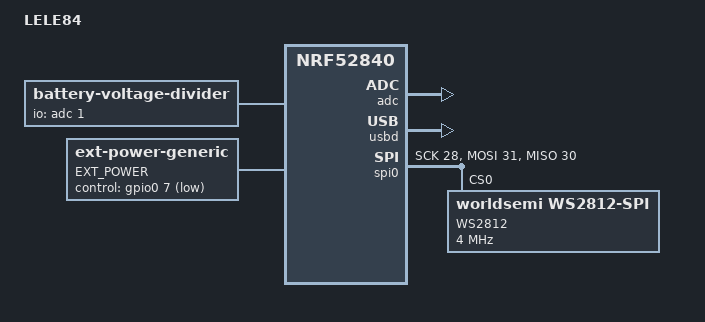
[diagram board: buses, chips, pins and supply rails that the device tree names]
/*
 * Copyright (c) 2020 Stefan Sundin (4pplet)
 *
 * SPDX-License-Identifier: MIT
 */

/dts-v1/;
#include <nordic/nrf52840_qiaa.dtsi>
#include <dt-bindings/zmk/matrix_transform.h>
/ {
	model = "LELE84";
	compatible = "Lele84";

	chosen {
		zephyr,code-partition = &code_partition;
		zephyr,sram = &sram0;
		zephyr,flash = &flash0;
		zmk,underglow = &led_strip;
	};

	vbatt {
		compatible = "zmk,battery-voltage-divider";
		label = "BATTERY";
		io-channels = <&adc 1>;
		output-ohms = <1000000>;
		full-ohms = <(1000000 + 1000000)>;
	};

	

	ext-power {
		compatible = "zmk,ext-power-generic";
		label = "EXT_POWER";
		control-gpios = <&gpio0 7 GPIO_ACTIVE_LOW>;
	};

	
};

&gpio0 {
	status = "okay";
};

&gpio1 {
	status = "okay";
};

&adc {
	status = "okay";
};

&usbd {
	status = "okay";
};

&spi0 {
	// Underglow data: P0.31 
  compatible = "nordic,nrf-spim";
  status = "okay";
  mosi-pin = <31>;
  // Unused pins, needed for SPI definition, but not used by the ws2812 driver itself.
  sck-pin = <28>;
  miso-pin = <30>;

  led_strip: ws2812@0 {
    compatible = "worldsemi,ws2812-spi";
    label = "WS2812";

    /* SPI */
    reg = <0>; /* ignored, but necessary for SPI bindings */
    spi-max-frequency = <4000000>;

    /* WS2812 */
    chain-length = <16>; /* number of LEDs */
    spi-one-frame = <0x70>;
    spi-zero-frame = <0x40>;
  };
};

&flash0 {
	/*
	 * For more information, see:
	 * http://docs.zephyrproject.org/latest/devices/dts/flash_partitions.html
	 */
	partitions {
		compatible = "fixed-partitions";
		#address-cells = <1>;
		#size-cells = <1>;

		sd_partition: partition@0 {
			label = "softdevice";
			reg = <0x00000000 0x00026000>;
		};
		code_partition: partition@26000 {
			label = "code_partition";
			reg = <0x00026000 0x000c6000>;
		};

		/*
		 * The flash starting at 0x000ec000 and ending at
		 * 0x000f3fff is reserved for use by the application.
		 */

		/*
		 * Storage partition will be used by FCB/LittleFS/NVS
		 * if enabled.
		 */
		storage_partition: partition@ec000 {
			label = "storage";
			reg = <0x000ec000 0x00008000>;
		};

		boot_partition: partition@f4000 {
			label = "adafruit_boot";
			reg = <0x000f4000 0x0000c000>;
		};
	};
};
